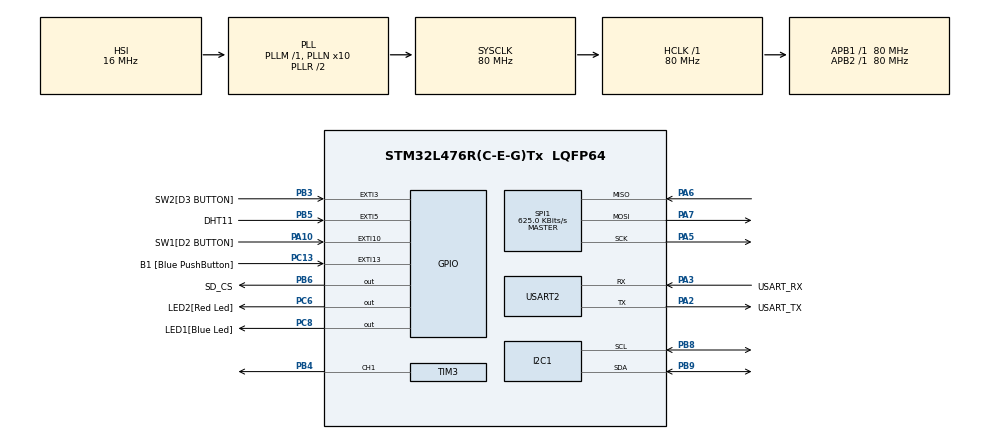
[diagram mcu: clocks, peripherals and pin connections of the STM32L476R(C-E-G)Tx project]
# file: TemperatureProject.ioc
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FREERTOS.BinarySemaphores01=dhtSem,Dynamic,NULL;dhtDataReady,Dynamic,NULL
FREERTOS.Tasks01=defaultTask,24,128,StartDefaultTask,Default,NULL,Dynamic,NULL,NULL;DhtTask,24,256,dhtTask,As external,NULL,Dynamic,NULL,NULL;LedBlinkTask,8,128,ledBlinkTask,As external,NULL,Dynamic,NULL,NULL;ComTask,8,512,comTask,As external,NULL,Dynamic,NULL,NULL;SystemTask,8,640,systemTask,As external,NULL,Dynamic,NULL,NULL;SaveTask,8,640,saveTask,As external,NULL,Dynamic,NULL,NULL
FREERTOS.configTOTAL_HEAP_SIZE=11000
I2C1.Timing=0x10909CEC
Mcu.Family=STM32L4
Mcu.Name=STM32L476R(C-E-G)Tx
Mcu.Package=LQFP64
NVIC.EXTI15_10_IRQn=true\:5\:0\:false\:false\:true\:true\:true\:true\:true
NVIC.EXTI3_IRQn=true\:5\:0\:false\:false\:true\:true\:true\:true\:true
NVIC.EXTI9_5_IRQn=true\:5\:0\:false\:false\:true\:true\:true\:true\:true
NVIC.PriorityGroup=NVIC_PRIORITYGROUP_4
PA10.GPIO_Label=SW1[D2 BUTTON]
PA10.GPIO_ModeDefaultEXTI=GPIO_MODE_IT_RISING_FALLING
PA10.Signal=GPXTI10
PA13\ (JTMS-SWDIO).GPIO_Label=TMS
PA13\ (JTMS-SWDIO).Mode=Serial_Wire
PA13\ (JTMS-SWDIO).Signal=SYS_JTMS-SWDIO
PA14\ (JTCK-SWCLK).GPIO_Label=TCK
PA14\ (JTCK-SWCLK).Mode=Serial_Wire
PA14\ (JTCK-SWCLK).Signal=SYS_JTCK-SWCLK
PA2.GPIO_Label=USART_TX
PA2.GPIO_Mode=GPIO_MODE_AF_PP
PA2.GPIO_PuPd=GPIO_NOPULL
PA2.GPIO_Speed=GPIO_SPEED_FREQ_VERY_HIGH
PA2.Mode=Asynchronous
PA2.Signal=USART2_TX
PA3.GPIO_Label=USART_RX
PA3.GPIO_Mode=GPIO_MODE_AF_PP
PA3.GPIO_PuPd=GPIO_NOPULL
PA3.GPIO_Speed=GPIO_SPEED_FREQ_VERY_HIGH
PA3.Mode=Asynchronous
PA3.Signal=USART2_RX
PA5.Mode=Full_Duplex_Master
PA5.Signal=SPI1_SCK
PA6.Mode=Full_Duplex_Master
PA6.Signal=SPI1_MISO
PA7.Mode=Full_Duplex_Master
PA7.Signal=SPI1_MOSI
PB3\ (JTDO-TRACESWO).GPIO_Label=SW2[D3 BUTTON]
PB3\ (JTDO-TRACESWO).GPIO_ModeDefaultEXTI=GPIO_MODE_IT_RISING_FALLING
PB3\ (JTDO-TRACESWO).Signal=GPXTI3
PB4\ (NJTRST).Signal=S_TIM3_CH1
PB5.GPIO_Label=DHT11
PB5.GPIO_ModeDefaultEXTI=GPIO_MODE_IT_FALLING
PB5.Signal=GPXTI5
PB6.GPIO_Label=SD_CS
PB6.Signal=GPIO_Output
PB8.Mode=I2C
PB8.Signal=I2C1_SCL
PB9.Mode=I2C
PB9.Signal=I2C1_SDA
PC13.GPIO_Label=B1 [Blue PushButton]
PC13.GPIO_ModeDefaultEXTI=GPIO_MODE_IT_FALLING
PC13.GPIO_PuPd=GPIO_NOPULL
PC13.Signal=GPXTI13
PC14-OSC32_IN\ (PC14).Mode=LSE-External-Oscillator
PC14-OSC32_IN\ (PC14).Signal=RCC_OSC32_IN
PC15-OSC32_OUT\ (PC15).Mode=LSE-External-Oscillator
PC15-OSC32_OUT\ (PC15).Signal=RCC_OSC32_OUT
PC6.GPIO_Label=LED2[Red Led]
PC6.Signal=GPIO_Output
PC8.GPIO_Label=LED1[Blue Led]
PC8.Signal=GPIO_Output
PH0-OSC_IN\ (PH0).Signal=RCC_OSC_IN
PH1-OSC_OUT\ (PH1).Signal=RCC_OSC_OUT
ProjectManager.HeapSize=0x200
ProjectManager.StackSize=0x400
ProjectManager.TargetToolchain=STM32CubeIDE
RCC.ADCFreq_Value=64000000
RCC.AHBFreq_Value=80000000
RCC.APB1Freq_Value=80000000
RCC.APB1TimFreq_Value=80000000
RCC.APB2Freq_Value=80000000
RCC.APB2TimFreq_Value=80000000
RCC.CortexFreq_Value=80000000
RCC.HCLKFreq_Value=80000000
RCC.HSE_VALUE=8000000
RCC.HSI_VALUE=16000000
RCC.MSI_VALUE=4000000
RCC.PLLN=10
RCC.PLLSourceVirtual=RCC_PLLSOURCE_HSI
RCC.PREFETCH_ENABLE=1
RCC.SYSCLKFreq_VALUE=80000000
RCC.SYSCLKSource=RCC_SYSCLKSOURCE_PLLCLK
RCC.USBFreq_Value=64000000
RCC.VCOOutputFreq_Value=160000000
SH.S_TIM3_CH1.0=TIM3_CH1,PWM Generation1 CH1
SPI1.BaudRatePrescaler=SPI_BAUDRATEPRESCALER_128
SPI1.CalculateBaudRate=625.0 KBits/s
SPI1.DataSize=SPI_DATASIZE_8BIT
SPI1.Direction=SPI_DIRECTION_2LINES
SPI1.Mode=SPI_MODE_MASTER
SPI1.VirtualType=VM_MASTER
TIM16.Prescaler=79
TIM3.Channel-PWM\ Generation1\ CH1=TIM_CHANNEL_1
TIM3.Period=382
TIM3.Prescaler=799
TIM3.Pulse-PWM\ Generation1\ CH1=191
USART2.VirtualMode-Asynchronous=VM_ASYNC
VP_FATFS_VS_Generic.Mode=User_defined
VP_FREERTOS_VS_CMSIS_V2.Mode=CMSIS_V2
VP_TIM16_VS_ClockSourceINT.Mode=Enable_Timer
board=NUCLEO-L476RG

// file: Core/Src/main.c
/* USER CODE BEGIN Header */
/**
  ******************************************************************************
  * @file           : main.c
  * @brief          : Main program body
  ******************************************************************************
  * @attention
  *
  * Copyright (c) 2022 STMicroelectronics.
  * All rights reserved.
  *
  * This software is licensed under terms that can be found in the LICENSE file
  * in the root directory of this software component.
  * If no LICENSE file comes with this software, it is provided AS-IS.
  *
  ******************************************************************************
  */
/* USER CODE END Header */
#include "main.h"
#include "cmsis_os.h"
#include "fatfs.h"

/* USER CODE BEGIN Includes */
#include "MyMain.h"
#include <stdio.h>
#include <string.h>
#include <stdarg.h>
/* USER CODE END Includes */

I2C_HandleTypeDef hi2c1;

SPI_HandleTypeDef hspi1;

TIM_HandleTypeDef htim3;
TIM_HandleTypeDef htim16;

UART_HandleTypeDef huart2;

/* Definitions for defaultTask */
osThreadId_t defaultTaskHandle;
const osThreadAttr_t defaultTask_attributes = {
  .name = "defaultTask",
  .stack_size = 128 * 4,
  .priority = (osPriority_t) osPriorityNormal,
};
/* Definitions for DhtTask */
osThreadId_t DhtTaskHandle;
const osThreadAttr_t DhtTask_attributes = {
  .name = "DhtTask",
  .stack_size = 256 * 4,
  .priority = (osPriority_t) osPriorityNormal,
};
/* Definitions for LedBlinkTask */
osThreadId_t LedBlinkTaskHandle;
const osThreadAttr_t LedBlinkTask_attributes = {
  .name = "LedBlinkTask",
  .stack_size = 128 * 4,
  .priority = (osPriority_t) osPriorityLow,
};
/* Definitions for ComTask */
osThreadId_t ComTaskHandle;
const osThreadAttr_t ComTask_attributes = {
  .name = "ComTask",
  .stack_size = 512 * 4,
  .priority = (osPriority_t) osPriorityLow,
};
/* Definitions for SystemTask */
osThreadId_t SystemTaskHandle;
const osThreadAttr_t SystemTask_attributes = {
  .name = "SystemTask",
  .stack_size = 640 * 4,
  .priority = (osPriority_t) osPriorityLow,
};
/* Definitions for SaveTask */
osThreadId_t SaveTaskHandle;
const osThreadAttr_t SaveTask_attributes = {
  .name = "SaveTask",
  .stack_size = 640 * 4,
  .priority = (osPriority_t) osPriorityLow,
};
/* Definitions for dhtSem */
osSemaphoreId_t dhtSemHandle;
const osSemaphoreAttr_t dhtSem_attributes = {
  .name = "dhtSem"
};
/* Definitions for dhtDataReady */
osSemaphoreId_t dhtDataReadyHandle;
const osSemaphoreAttr_t dhtDataReady_attributes = {
  .name = "dhtDataReady"
};

void SystemClock_Config(void);
static void MX_GPIO_Init(void);
static void MX_USART2_UART_Init(void);
static void MX_TIM16_Init(void);
static void MX_TIM3_Init(void);
static void MX_I2C1_Init(void);
static void MX_SPI1_Init(void);
void StartDefaultTask(void *argument);
extern void dhtTask(void *argument);
extern void ledBlinkTask(void *argument);
extern void comTask(void *argument);
extern void systemTask(void *argument);
extern void saveTask(void *argument);

/* USER CODE BEGIN PFP */
void myprintf(const char *fmt, ...);
/* USER CODE END PFP */

/* USER CODE BEGIN 0 */
void myprintf(const char *fmt, ...) {
  static char buffer[256];
  va_list args;
  va_start(args, fmt);
  vsnprintf(buffer, sizeof(buffer), fmt, args);
  va_end(args);

  int len = strlen(buffer);
  HAL_UART_Transmit(&huart2, (uint8_t*)buffer, len, -1);

}
/* USER CODE END 0 */

int main(void)
{

  /* MCU Configuration--------------------------------------------------------*/

  /* Reset of all peripherals, Initializes the Flash interface and the Systick. */
  HAL_Init();

  /* Configure the system clock */
  SystemClock_Config();

  /* Initialize all configured peripherals */
  MX_GPIO_Init();
  MX_USART2_UART_Init();
  MX_TIM16_Init();
  MX_TIM3_Init();
  MX_I2C1_Init();
  MX_SPI1_Init();
  MX_FATFS_Init();
  /* USER CODE BEGIN 2 */
  myMain();

  /* USER CODE END 2 */

  /* Init scheduler */
  osKernelInitialize();

  /* Create the semaphores(s) */
  /* creation of dhtSem */
  dhtSemHandle = osSemaphoreNew(1, 1, &dhtSem_attributes);

  /* creation of dhtDataReady */
  dhtDataReadyHandle = osSemaphoreNew(1, 1, &dhtDataReady_attributes);

  /* Create the thread(s) */
  /* creation of defaultTask */
  defaultTaskHandle = osThreadNew(StartDefaultTask, NULL, &defaultTask_attributes);

  /* creation of DhtTask */
  DhtTaskHandle = osThreadNew(dhtTask, NULL, &DhtTask_attributes);

  /* creation of LedBlinkTask */
  LedBlinkTaskHandle = osThreadNew(ledBlinkTask, NULL, &LedBlinkTask_attributes);

  /* creation of ComTask */
  ComTaskHandle = osThreadNew(comTask, NULL, &ComTask_attributes);

  /* creation of SystemTask */
  SystemTaskHandle = osThreadNew(systemTask, NULL, &SystemTask_attributes);

  /* creation of SaveTask */
  SaveTaskHandle = osThreadNew(saveTask, NULL, &SaveTask_attributes);

  /* Start scheduler */
  osKernelStart();

  /* We should never get here as control is now taken by the scheduler */
  /* Infinite loop */
  while (1)
  {

  }
}

void SystemClock_Config(void)
{
  RCC_OscInitTypeDef RCC_OscInitStruct = {0};
  RCC_ClkInitTypeDef RCC_ClkInitStruct = {0};

  /** Configure the main internal regulator output voltage
  */
  if (HAL_PWREx_ControlVoltageScaling(PWR_REGULATOR_VOLTAGE_SCALE1) != HAL_OK)
  {
    Error_Handler();
  }

  /** Initializes the RCC Oscillators according to the specified parameters
  * in the RCC_OscInitTypeDef structure.
  */
  RCC_OscInitStruct.OscillatorType = RCC_OSCILLATORTYPE_HSI;
  RCC_OscInitStruct.HSIState = RCC_HSI_ON;
  RCC_OscInitStruct.HSICalibrationValue = RCC_HSICALIBRATION_DEFAULT;
  RCC_OscInitStruct.PLL.PLLState = RCC_PLL_ON;
  RCC_OscInitStruct.PLL.PLLSource = RCC_PLLSOURCE_HSI;
  RCC_OscInitStruct.PLL.PLLM = 1;
  RCC_OscInitStruct.PLL.PLLN = 10;
  RCC_OscInitStruct.PLL.PLLP = RCC_PLLP_DIV7;
  RCC_OscInitStruct.PLL.PLLQ = RCC_PLLQ_DIV2;
  RCC_OscInitStruct.PLL.PLLR = RCC_PLLR_DIV2;
  if (HAL_RCC_OscConfig(&RCC_OscInitStruct) != HAL_OK)
  {
    Error_Handler();
  }

  /** Initializes the CPU, AHB and APB buses clocks
  */
  RCC_ClkInitStruct.ClockType = RCC_CLOCKTYPE_HCLK|RCC_CLOCKTYPE_SYSCLK
                              |RCC_CLOCKTYPE_PCLK1|RCC_CLOCKTYPE_PCLK2;
  RCC_ClkInitStruct.SYSCLKSource = RCC_SYSCLKSOURCE_PLLCLK;
  RCC_ClkInitStruct.AHBCLKDivider = RCC_SYSCLK_DIV1;
  RCC_ClkInitStruct.APB1CLKDivider = RCC_HCLK_DIV1;
  RCC_ClkInitStruct.APB2CLKDivider = RCC_HCLK_DIV1;

  if (HAL_RCC_ClockConfig(&RCC_ClkInitStruct, FLASH_LATENCY_4) != HAL_OK)
  {
    Error_Handler();
  }
}

static void MX_I2C1_Init(void)
{

  hi2c1.Instance = I2C1;
  hi2c1.Init.Timing = 0x10909CEC;
  hi2c1.Init.OwnAddress1 = 0;
  hi2c1.Init.AddressingMode = I2C_ADDRESSINGMODE_7BIT;
  hi2c1.Init.DualAddressMode = I2C_DUALADDRESS_DISABLE;
  hi2c1.Init.OwnAddress2 = 0;
  hi2c1.Init.OwnAddress2Masks = I2C_OA2_NOMASK;
  hi2c1.Init.GeneralCallMode = I2C_GENERALCALL_DISABLE;
  hi2c1.Init.NoStretchMode = I2C_NOSTRETCH_DISABLE;
  if (HAL_I2C_Init(&hi2c1) != HAL_OK)
  {
    Error_Handler();
  }

  /** Configure Analogue filter
  */
  if (HAL_I2CEx_ConfigAnalogFilter(&hi2c1, I2C_ANALOGFILTER_ENABLE) != HAL_OK)
  {
    Error_Handler();
  }

  /** Configure Digital filter
  */
  if (HAL_I2CEx_ConfigDigitalFilter(&hi2c1, 0) != HAL_OK)
  {
    Error_Handler();
  }

}

static void MX_SPI1_Init(void)
{

  /* SPI1 parameter configuration*/
  hspi1.Instance = SPI1;
  hspi1.Init.Mode = SPI_MODE_MASTER;
  hspi1.Init.Direction = SPI_DIRECTION_2LINES;
  hspi1.Init.DataSize = SPI_DATASIZE_8BIT;
  hspi1.Init.CLKPolarity = SPI_POLARITY_LOW;
  hspi1.Init.CLKPhase = SPI_PHASE_1EDGE;
  hspi1.Init.NSS = SPI_NSS_SOFT;
  hspi1.Init.BaudRatePrescaler = SPI_BAUDRATEPRESCALER_128;
  hspi1.Init.FirstBit = SPI_FIRSTBIT_MSB;
  hspi1.Init.TIMode = SPI_TIMODE_DISABLE;
  hspi1.Init.CRCCalculation = SPI_CRCCALCULATION_DISABLE;
  hspi1.Init.CRCPolynomial = 7;
  hspi1.Init.CRCLength = SPI_CRC_LENGTH_DATASIZE;
  hspi1.Init.NSSPMode = SPI_NSS_PULSE_ENABLE;
  if (HAL_SPI_Init(&hspi1) != HAL_OK)
  {
    Error_Handler();
  }

}

static void MX_TIM3_Init(void)
{

  TIM_MasterConfigTypeDef sMasterConfig = {0};
  TIM_OC_InitTypeDef sConfigOC = {0};

  htim3.Instance = TIM3;
  htim3.Init.Prescaler = 799;
  htim3.Init.CounterMode = TIM_COUNTERMODE_UP;
  htim3.Init.Period = 382;
  htim3.Init.ClockDivision = TIM_CLOCKDIVISION_DIV1;
  htim3.Init.AutoReloadPreload = TIM_AUTORELOAD_PRELOAD_DISABLE;
  if (HAL_TIM_PWM_Init(&htim3) != HAL_OK)
  {
    Error_Handler();
  }
  sMasterConfig.MasterOutputTrigger = TIM_TRGO_RESET;
  sMasterConfig.MasterSlaveMode = TIM_MASTERSLAVEMODE_DISABLE;
  if (HAL_TIMEx_MasterConfigSynchronization(&htim3, &sMasterConfig) != HAL_OK)
  {
    Error_Handler();
  }
  sConfigOC.OCMode = TIM_OCMODE_PWM1;
  sConfigOC.Pulse = 191;
  sConfigOC.OCPolarity = TIM_OCPOLARITY_HIGH;
  sConfigOC.OCFastMode = TIM_OCFAST_DISABLE;
  if (HAL_TIM_PWM_ConfigChannel(&htim3, &sConfigOC, TIM_CHANNEL_1) != HAL_OK)
  {
    Error_Handler();
  }
  HAL_TIM_MspPostInit(&htim3);

}

static void MX_TIM16_Init(void)
{

  htim16.Instance = TIM16;
  htim16.Init.Prescaler = 79;
  htim16.Init.CounterMode = TIM_COUNTERMODE_UP;
  htim16.Init.Period = 65535;
  htim16.Init.ClockDivision = TIM_CLOCKDIVISION_DIV1;
  htim16.Init.RepetitionCounter = 0;
  htim16.Init.AutoReloadPreload = TIM_AUTORELOAD_PRELOAD_DISABLE;
  if (HAL_TIM_Base_Init(&htim16) != HAL_OK)
  {
    Error_Handler();
  }

}

static void MX_USART2_UART_Init(void)
{

  huart2.Instance = USART2;
  huart2.Init.BaudRate = 115200;
  huart2.Init.WordLength = UART_WORDLENGTH_8B;
  huart2.Init.StopBits = UART_STOPBITS_1;
  huart2.Init.Parity = UART_PARITY_NONE;
  huart2.Init.Mode = UART_MODE_TX_RX;
  huart2.Init.HwFlowCtl = UART_HWCONTROL_NONE;
  huart2.Init.OverSampling = UART_OVERSAMPLING_16;
  huart2.Init.OneBitSampling = UART_ONE_BIT_SAMPLE_DISABLE;
  huart2.AdvancedInit.AdvFeatureInit = UART_ADVFEATURE_NO_INIT;
  if (HAL_UART_Init(&huart2) != HAL_OK)
  {
    Error_Handler();
  }

}

static void MX_GPIO_Init(void)
{
  GPIO_InitTypeDef GPIO_InitStruct = {0};

  /* GPIO Ports Clock Enable */
  __HAL_RCC_GPIOC_CLK_ENABLE();
  __HAL_RCC_GPIOH_CLK_ENABLE();
  __HAL_RCC_GPIOA_CLK_ENABLE();
  __HAL_RCC_GPIOB_CLK_ENABLE();

  /*Configure GPIO pin Output Level */
  HAL_GPIO_WritePin(GPIOC, LED2_Pin|LED1_Pin, GPIO_PIN_RESET);

  /*Configure GPIO pin Output Level */
  HAL_GPIO_WritePin(SD_CS_GPIO_Port, SD_CS_Pin, GPIO_PIN_RESET);

  /*Configure GPIO pin : B1_Pin */
  GPIO_InitStruct.Pin = B1_Pin;
  GPIO_InitStruct.Mode = GPIO_MODE_IT_FALLING;
  GPIO_InitStruct.Pull = GPIO_NOPULL;
  HAL_GPIO_Init(B1_GPIO_Port, &GPIO_InitStruct);

  /*Configure GPIO pins : LED2_Pin LED1_Pin */
  GPIO_InitStruct.Pin = LED2_Pin|LED1_Pin;
  GPIO_InitStruct.Mode = GPIO_MODE_OUTPUT_PP;
  GPIO_InitStruct.Pull = GPIO_NOPULL;
  GPIO_InitStruct.Speed = GPIO_SPEED_FREQ_LOW;
  HAL_GPIO_Init(GPIOC, &GPIO_InitStruct);

  /*Configure GPIO pin : SW1_Pin */
  GPIO_InitStruct.Pin = SW1_Pin;
  GPIO_InitStruct.Mode = GPIO_MODE_IT_RISING_FALLING;
  GPIO_InitStruct.Pull = GPIO_NOPULL;
  HAL_GPIO_Init(SW1_GPIO_Port, &GPIO_InitStruct);

  /*Configure GPIO pin : SW2_Pin */
  GPIO_InitStruct.Pin = SW2_Pin;
  GPIO_InitStruct.Mode = GPIO_MODE_IT_RISING_FALLING;
  GPIO_InitStruct.Pull = GPIO_NOPULL;
  HAL_GPIO_Init(SW2_GPIO_Port, &GPIO_InitStruct);

  /*Configure GPIO pin : DHT11_Pin */
  GPIO_InitStruct.Pin = DHT11_Pin;
  GPIO_InitStruct.Mode = GPIO_MODE_IT_FALLING;
  GPIO_InitStruct.Pull = GPIO_NOPULL;
  HAL_GPIO_Init(DHT11_GPIO_Port, &GPIO_InitStruct);

  /*Configure GPIO pin : SD_CS_Pin */
  GPIO_InitStruct.Pin = SD_CS_Pin;
  GPIO_InitStruct.Mode = GPIO_MODE_OUTPUT_PP;
  GPIO_InitStruct.Pull = GPIO_NOPULL;
  GPIO_InitStruct.Speed = GPIO_SPEED_FREQ_LOW;
  HAL_GPIO_Init(SD_CS_GPIO_Port, &GPIO_InitStruct);

  /* EXTI interrupt init*/
  HAL_NVIC_SetPriority(EXTI3_IRQn, 5, 0);
  HAL_NVIC_EnableIRQ(EXTI3_IRQn);

  HAL_NVIC_SetPriority(EXTI9_5_IRQn, 5, 0);
  HAL_NVIC_EnableIRQ(EXTI9_5_IRQn);

  HAL_NVIC_SetPriority(EXTI15_10_IRQn, 5, 0);
  HAL_NVIC_EnableIRQ(EXTI15_10_IRQn);

}

/* USER CODE BEGIN 4 */
int _write(int fd, char* ptr, int len) {
    HAL_UART_Transmit(&huart2, (uint8_t *) ptr, len, HAL_MAX_DELAY);
    return len;
}
/* USER CODE END 4 */

void StartDefaultTask(void *argument)
{
  for(;;)
  {
    osDelay(1);
  }
}

void Error_Handler(void)
{
  __disable_irq();
  while (1)
  {
  }
}
